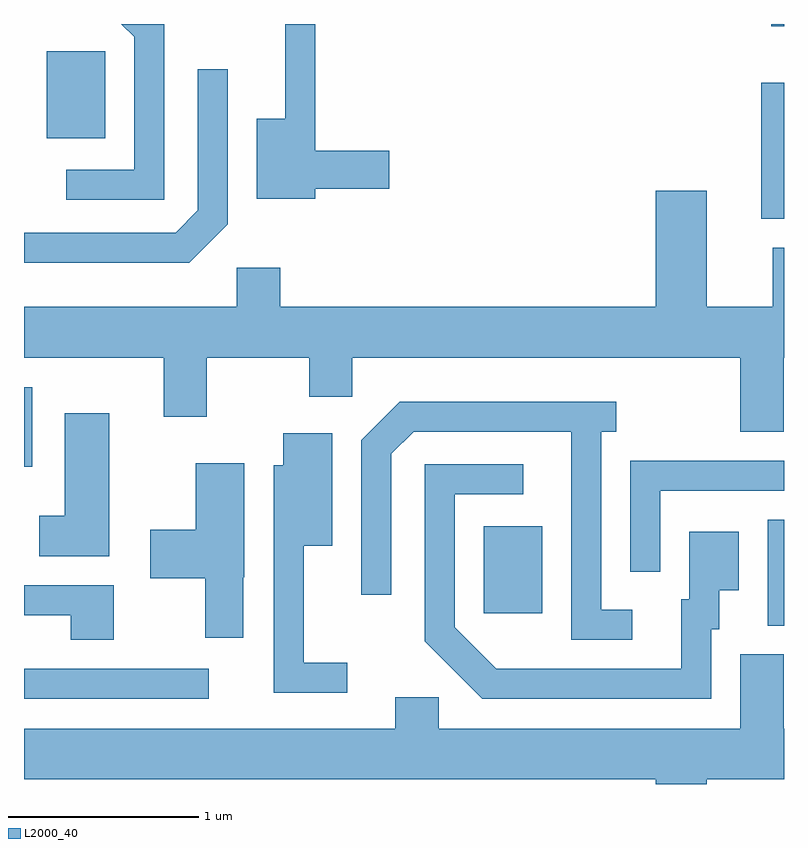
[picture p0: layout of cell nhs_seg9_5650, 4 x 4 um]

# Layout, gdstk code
import gdstk
lib = gdstk.Library(unit=1e-6, precision=1e-09)
def R(c, l, rs):  # rectangles x0, y0, x1, y1
    for r in rs: c.add(gdstk.rectangle(r[:2], r[2:], *l))
def P(c, l, *ps):  # polygons
    for p in ps: c.add(gdstk.Polygon(p, *l))
L2000_40 = (2000, 40)

nhs_seg9_5650 = lib.new_cell('nhs_seg9_5650')
R(nhs_seg9_5650, L2000_40, [(351.611,2018.881,352.583,2019.039), (355.526,2019.266,355.611,2019.824), (354.031,2019.331,354.339,2019.789), (351.611,2020.101,351.654,2020.519), (355.491,2021.406,355.611,2022.124), (351.731,2021.831,352.039,2022.289), (355.543,2022.421,355.611,2022.432)])
P(nhs_seg9_5650, L2000_40, [(352.349,2022.432),(352.123,2022.432),(352.191,2022.364),(352.191,2021.664),(351.833,2021.664),(351.833,2021.506),(352.349,2021.506)],
  [(353.144,2021.566),(353.534,2021.566),(353.534,2021.764),(353.144,2021.764),(353.144,2022.432),(352.986,2022.432),(352.986,2021.934),(352.836,2021.934),(352.836,2021.511),(353.144,2021.511)],
  [(352.684,2021.379),(352.684,2022.193),(352.526,2022.193),(352.526,2021.452),(352.409,2021.334),(351.611,2021.334),(351.611,2021.176),(352.482,2021.176)],
  [(355.609,2020.676),(355.611,2020.676),(355.611,2021.254),(355.551,2021.254),(355.551,2020.944),(355.204,2020.944),(355.204,2021.554),(354.936,2021.554),(354.936,2020.944),(352.959,2020.944),(352.959,2021.149),(352.731,2021.149),(352.731,2020.944),(351.611,2020.944),(351.611,2020.676),(352.346,2020.676),(352.346,2020.366),(352.574,2020.366),(352.574,2020.676),(353.111,2020.676),(353.111,2020.471),(353.339,2020.471),(353.339,2020.676),(355.381,2020.676),(355.381,2020.286),(355.609,2020.286)],
  [(354.813,2019.349),(354.649,2019.349),(354.649,2020.286),(354.728,2020.286),(354.728,2020.444),(353.589,2020.444),(353.386,2020.242),(353.386,2019.428),(353.544,2019.428),(353.544,2020.169),(353.662,2020.286),(354.491,2020.286),(354.491,2019.191),(354.813,2019.191)],
  [(352.059,2020.384),(351.826,2020.384),(351.826,2019.844),(351.691,2019.844),(351.691,2019.631),(352.059,2019.631)],
  [(353.313,2019.069),(353.084,2019.069),(353.084,2019.686),(353.234,2019.686),(353.234,2020.279),(352.976,2020.279),(352.976,2020.109),(352.926,2020.109),(352.926,2018.911),(353.313,2018.911)],
  [(354.959,2019.976),(355.611,2019.976),(355.611,2020.134),(354.801,2020.134),(354.801,2019.548),(354.959,2019.548)],
  [(352.764,2019.52),(352.769,2019.52),(352.769,2020.119),(352.516,2020.119),(352.516,2019.769),(352.276,2019.769),(352.276,2019.516),(352.566,2019.516),(352.566,2019.201),(352.764,2019.201)],
  [(355.229,2019.246),(355.269,2019.246),(355.269,2019.451),(355.374,2019.451),(355.374,2019.759),(355.111,2019.759),(355.111,2019.404),(355.071,2019.404),(355.071,2019.039),(354.097,2019.039),(353.879,2019.257),(353.879,2019.956),(354.238,2019.956),(354.238,2020.114),(353.721,2020.114),(353.721,2019.184),(354.024,2018.881),(355.229,2018.881)],
  [(352.084,2019.479),(351.611,2019.479),(351.611,2019.321),(351.856,2019.321),(351.856,2019.191),(352.084,2019.191)],
  [(355.204,2018.456),(355.611,2018.456),(355.611,2018.724),(355.609,2018.724),(355.609,2019.114),(355.381,2019.114),(355.381,2018.724),(353.794,2018.724),(353.794,2018.889),(353.566,2018.889),(353.566,2018.724),(351.611,2018.724),(351.611,2018.456),(354.936,2018.456),(354.936,2018.432),(355.204,2018.432)])

lib.write_gds('nhs_seg9_5650.gds')
